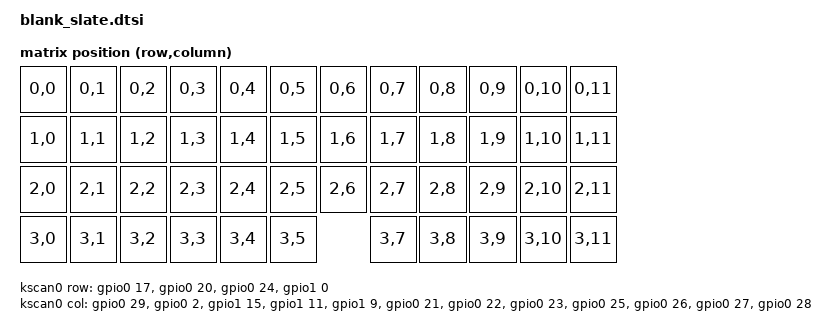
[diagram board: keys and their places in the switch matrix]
#include <dt-bindings/zmk/matrix_transform.h>

/ {
    chosen {
        zmk,kscan = &kscan0;
        zmk,matrix_transform = &default_transform;
        zephyr,console = &cdc_acm_uart;
    };

    default_transform: keymap_transform_0 {
        compatible = "zmk,matrix-transform";
        rows = <4>;
        columns = <12>;
        map = <
            RC(0,0)  RC(0,1)  RC(0,2)  RC(0,3)  RC(0,4)  RC(0,5)  RC(0,6)  RC(0,7)  RC(0,8)  RC(0,9)  RC(0,10) RC(0,11)
            RC(1,0)  RC(1,1)  RC(1,2)  RC(1,3)  RC(1,4)  RC(1,5)  RC(1,6)  RC(1,7)  RC(1,8)  RC(1,9)  RC(1,10) RC(1,11)
            RC(2,0)  RC(2,1)  RC(2,2)  RC(2,3)  RC(2,4)  RC(2,5)  RC(2,6)  RC(2,7)  RC(2,8)  RC(2,9)  RC(2,10) RC(2,11)
            RC(3,0)  RC(3,1)  RC(3,2)  RC(3,3)  RC(3,4)  RC(3,5)           RC(3,7)  RC(3,8)  RC(3,9)  RC(3,10) RC(3,11)
        >;
    };

    kscan0: kscan {
        compatible = "zmk,kscan-gpio-matrix";
        diode-direction = "col2row";

        row-gpios = <
            &gpio0 17 (GPIO_ACTIVE_HIGH | GPIO_PULL_DOWN)  // Row 0: P0.17
            &gpio0 20 (GPIO_ACTIVE_HIGH | GPIO_PULL_DOWN)  // Row 1: P0.20
            &gpio0 24 (GPIO_ACTIVE_HIGH | GPIO_PULL_DOWN)  // Row 2: P0.24
            &gpio1 0  (GPIO_ACTIVE_HIGH | GPIO_PULL_DOWN)  // Row 3: P1.00
        >;

        col-gpios = <
            &gpio0 29 GPIO_ACTIVE_HIGH  // Col 0: P0.29
            &gpio0 2  GPIO_ACTIVE_HIGH  // Col 1: P0.02
            &gpio1 15 GPIO_ACTIVE_HIGH  // Col 2: P1.15
            &gpio1 11 GPIO_ACTIVE_HIGH  // Col 3: P1.11
            &gpio1 9  GPIO_ACTIVE_HIGH  // Col 4: P1.09
            &gpio0 21 GPIO_ACTIVE_HIGH  // Col 5: P0.21
            &gpio0 22 GPIO_ACTIVE_HIGH  // Col 6: P0.22
            &gpio0 23 GPIO_ACTIVE_HIGH  // Col 7: P0.23
            &gpio0 25 GPIO_ACTIVE_HIGH  // Col 8: P0.25
            &gpio0 26 GPIO_ACTIVE_HIGH  // Col 9: P0.26
            &gpio0 27 GPIO_ACTIVE_HIGH  // Col 10: P0.27
            &gpio0 28 GPIO_ACTIVE_HIGH  // Col 11: P0.28
        >;
    };

    // Battery configuration
    vbatt: vbatt {
        compatible = "zmk,battery-voltage-divider";
        io-channels = <&adc 7>;  // P0.31 = ADC7
        output-ohms = <2000000>; // 2M
        full-ohms = <(2000000 + 806000)>; // 2M + 806K
    };
};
